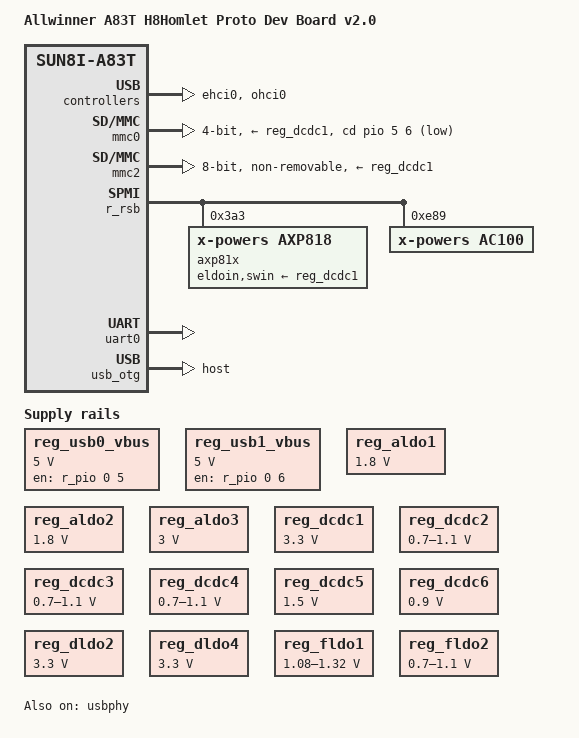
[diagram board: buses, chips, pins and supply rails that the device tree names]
/*
 * Copyright 2015 Vishnu Patekar
 * Vishnu Patekar <vishnupatekar0510@gmail.com>
 *
 * This file is dual-licensed: you can use it either under the terms
 * of the GPL or the X11 license, at your option. Note that this dual
 * licensing only applies to this file, and not this project as a
 * whole.
 *
 *  a) This file is free software; you can redistribute it and/or
 *     modify it under the terms of the GNU General Public License as
 *     published by the Free Software Foundation; either version 2 of the
 *     License, or (at your option) any later version.
 *
 *     This file is distributed in the hope that it will be useful,
 *     but WITHOUT ANY WARRANTY; without even the implied warranty of
 *     MERCHANTABILITY or FITNESS FOR A PARTICULAR PURPOSE.  See the
 *     GNU General Public License for more details.
 *
 * Or, alternatively,
 *
 *  b) Permission is hereby granted, free of charge, to any person
 *     obtaining a copy of this software and associated documentation
 *     files (the "Software"), to deal in the Software without
 *     restriction, including without limitation the rights to use,
 *     copy, modify, merge, publish, distribute, sublicense, and/or
 *     sell copies of the Software, and to permit persons to whom the
 *     Software is furnished to do so, subject to the following
 *     conditions:
 *
 *     The above copyright notice and this permission notice shall be
 *     included in all copies or substantial portions of the Software.
 *
 *     THE SOFTWARE IS PROVIDED "AS IS", WITHOUT WARRANTY OF ANY KIND,
 *     EXPRESS OR IMPLIED, INCLUDING BUT NOT LIMITED TO THE WARRANTIES
 *     OF MERCHANTABILITY, FITNESS FOR A PARTICULAR PURPOSE AND
 *     NONINFRINGEMENT. IN NO EVENT SHALL THE AUTHORS OR COPYRIGHT
 *     HOLDERS BE LIABLE FOR ANY CLAIM, DAMAGES OR OTHER LIABILITY,
 *     WHETHER IN AN ACTION OF CONTRACT, TORT OR OTHERWISE, ARISING
 *     FROM, OUT OF OR IN CONNECTION WITH THE SOFTWARE OR THE USE OR
 *     OTHER DEALINGS IN THE SOFTWARE.
 */

/dts-v1/;
#include "sun8i-a83t.dtsi"

#include <dt-bindings/gpio/gpio.h>

/ {
	model = "Allwinner A83T H8Homlet Proto Dev Board v2.0";
	compatible = "allwinner,h8homlet-v2", "allwinner,sun8i-a83t";

	aliases {
		serial0 = &uart0;
	};

	chosen {
		stdout-path = "serial0:115200n8";
	};

	reg_usb0_vbus: reg-usb0-vbus {
		compatible = "regulator-fixed";
		regulator-name = "usb0-vbus";
		regulator-min-microvolt = <5000000>;
		regulator-max-microvolt = <5000000>;
		regulator-boot-on;
		enable-active-high;
		gpio = <&r_pio 0 5 GPIO_ACTIVE_HIGH>; /* PL5 */
	};

	reg_usb1_vbus: reg-usb1-vbus {
		compatible = "regulator-fixed";
		regulator-name = "usb1-vbus";
		regulator-min-microvolt = <5000000>;
		regulator-max-microvolt = <5000000>;
		regulator-boot-on;
		enable-active-high;
		gpio = <&r_pio 0 6 GPIO_ACTIVE_HIGH>; /* PL6 */
	};
};

&cpu0 {
	cpu-supply = <&reg_dcdc2>;
};

&cpu100 {
	cpu-supply = <&reg_dcdc3>;
};

&ehci0 {
	status = "okay";
};

&mmc0 {
	pinctrl-names = "default";
	pinctrl-0 = <&mmc0_pins>;
	vmmc-supply = <&reg_dcdc1>;
	cd-gpios = <&pio 5 6 GPIO_ACTIVE_LOW>; /* PF6 */
	bus-width = <4>;
	status = "okay";
};

&mmc2 {
	pinctrl-names = "default";
	pinctrl-0 = <&mmc2_8bit_emmc_pins>;
	vmmc-supply = <&reg_dcdc1>;
	vqmmc-supply = <&reg_dcdc1>;
	bus-width = <8>;
	non-removable;
	cap-mmc-hw-reset;
	status = "okay";
};

&ohci0 {
	status = "okay";
};

&r_rsb {
	status = "okay";

	axp81x: pmic@3a3 {
		compatible = "x-powers,axp818", "x-powers,axp813";
		reg = <0x3a3>;
		interrupt-parent = <&r_intc>;
		interrupts = <0 IRQ_TYPE_LEVEL_LOW>;
		eldoin-supply = <&reg_dcdc1>;
		swin-supply = <&reg_dcdc1>;
	};

	ac100: codec@e89 {
		compatible = "x-powers,ac100";
		reg = <0xe89>;

		ac100_codec: codec {
			compatible = "x-powers,ac100-codec";
			interrupt-parent = <&r_pio>;
			interrupts = <0 11 IRQ_TYPE_LEVEL_LOW>; /* PL11 */
			#clock-cells = <0>;
			clock-output-names = "4M_adda";
		};

		ac100_rtc: rtc {
			compatible = "x-powers,ac100-rtc";
			interrupt-parent = <&r_intc>;
			interrupts = <0 IRQ_TYPE_LEVEL_LOW>;
			clocks = <&ac100_codec>;
			#clock-cells = <1>;
			clock-output-names = "cko1_rtc",
					     "cko2_rtc",
					     "cko3_rtc";
		};
	};
};

#include "axp81x.dtsi"

&ac_power_supply {
	status = "okay";
};

&reg_aldo1 {
	regulator-always-on;
	regulator-min-microvolt = <1800000>;
	regulator-max-microvolt = <1800000>;
	regulator-name = "vcc-1v8";
};

&reg_aldo2 {
	regulator-always-on;
	regulator-min-microvolt = <1800000>;
	regulator-max-microvolt = <1800000>;
	regulator-name = "dram-pll";
};

&reg_aldo3 {
	regulator-always-on;
	regulator-min-microvolt = <3000000>;
	regulator-max-microvolt = <3000000>;
	regulator-name = "avcc";
};

&reg_dcdc1 {
	regulator-always-on;
	regulator-min-microvolt = <3300000>;
	regulator-max-microvolt = <3300000>;
	regulator-name = "vcc-3v3";
};

&reg_dcdc2 {
	regulator-always-on;
	regulator-min-microvolt = <700000>;
	regulator-max-microvolt = <1100000>;
	regulator-name = "vdd-cpua";
};

&reg_dcdc3 {
	regulator-always-on;
	regulator-min-microvolt = <700000>;
	regulator-max-microvolt = <1100000>;
	regulator-name = "vdd-cpub";
};

&reg_dcdc4 {
	regulator-min-microvolt = <700000>;
	regulator-max-microvolt = <1100000>;
	regulator-name = "vdd-gpu";
};

&reg_dcdc5 {
	regulator-always-on;
	regulator-min-microvolt = <1500000>;
	regulator-max-microvolt = <1500000>;
	regulator-name = "vcc-dram";
};

&reg_dcdc6 {
	regulator-always-on;
	regulator-min-microvolt = <900000>;
	regulator-max-microvolt = <900000>;
	regulator-name = "vdd-sys";
};

&reg_dldo2 {
	regulator-min-microvolt = <3300000>;
	regulator-max-microvolt = <3300000>;
	regulator-name = "vcc-mipi";
};

&reg_dldo4 {
	/*
	 * The PHY requires 20ms after all voltages are applied until core
	 * logic is ready and 30ms after the reset pin is de-asserted.
	 * Set a 100ms delay to account for PMIC ramp time and board traces.
	 */
	regulator-enable-ramp-delay = <100000>;
	regulator-min-microvolt = <3300000>;
	regulator-max-microvolt = <3300000>;
	regulator-name = "vcc-ephy";
};

&reg_fldo1 {
	regulator-min-microvolt = <1080000>;
	regulator-max-microvolt = <1320000>;
	regulator-name = "vdd12-hsic";
};

&reg_fldo2 {
	/*
	 * Despite the embedded CPUs core not being used in any way,
	 * this must remain on or the system will hang.
	 */
	regulator-always-on;
	regulator-min-microvolt = <700000>;
	regulator-max-microvolt = <1100000>;
	regulator-name = "vdd-cpus";
};

&reg_rtc_ldo {
	regulator-name = "vcc-rtc";
};

&reg_sw {
	regulator-name = "vcc-wifi";
};

&uart0 {
	pinctrl-names = "default";
	pinctrl-0 = <&uart0_pb_pins>;
	status = "okay";
};

&usbphy {
	usb0_vbus-supply = <&reg_usb0_vbus>;
	usb1_vbus-supply = <&reg_usb1_vbus>;
	status = "okay";
};

&usb_otg {
	dr_mode = "host";
	status = "okay";
};
